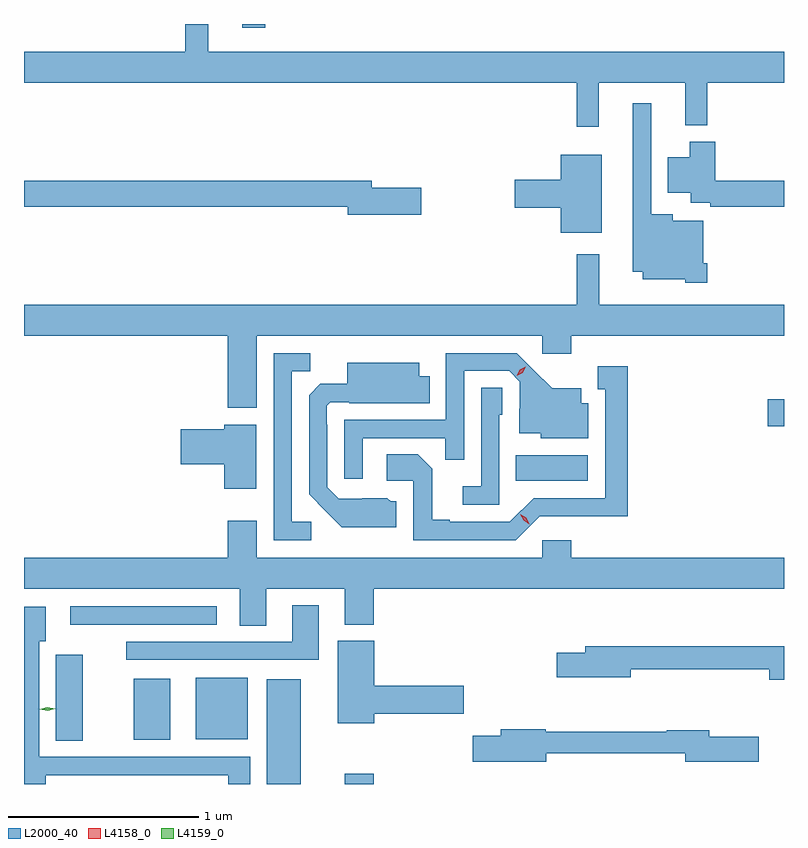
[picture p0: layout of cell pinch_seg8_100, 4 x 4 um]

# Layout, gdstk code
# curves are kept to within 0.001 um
import gdstk
lib = gdstk.Library(unit=1e-6, precision=1e-09)
def R(c, l, rs):  # rectangles x0, y0, x1, y1
    for r in rs: c.add(gdstk.rectangle(r[:2], r[2:], *l))
def P(c, l, *ps):  # polygons
    for p in ps: c.add(gdstk.Polygon(p, *l))
L2000_40 = (2000, 40)
L4158_0 = (4158, 0)
L4159_0 = (4159, 0)

pinch_seg8_100 = lib.new_cell('pinch_seg8_100')
R(pinch_seg8_100, L2000_40, [(1043.15,1100.821,1043.329,1101.373), (1043.561,1100.821,1043.714,1100.875), (1042.04,1101.049,1042.183,1101.502), (1042.451,1101.053,1042.642,1101.376), (1042.778,1101.056,1043.05,1101.379), (1042.116,1101.66,1042.888,1101.756), (1044.46,1102.418,1044.841,1102.552), (1045.788,1102.703,1045.873,1102.845), (1043.021,1104.801,1043.143,1104.821)])
P(pinch_seg8_100, L2000_40, [(1044.899,1104.512),(1045.352,1104.512),(1045.352,1104.287),(1045.469,1104.287),(1045.469,1104.512),(1045.873,1104.512),(1045.873,1104.676),(1042.843,1104.676),(1042.843,1104.821),(1042.722,1104.821),(1042.722,1104.676),(1041.873,1104.676),(1041.873,1104.512),(1044.781,1104.512),(1044.781,1104.279),(1044.899,1104.279)],
  [(1045.469,1103.563),(1045.447,1103.563),(1045.447,1103.785),(1045.288,1103.785),(1045.288,1103.821),(1045.173,1103.821),(1045.173,1104.403),(1045.076,1104.403),(1045.076,1103.516),(1045.13,1103.516),(1045.13,1103.477),(1045.353,1103.477),(1045.353,1103.459),(1045.469,1103.459)],
  [(1045.873,1103.996),(1045.511,1103.996),(1045.511,1104.202),(1045.376,1104.202),(1045.376,1104.121),(1045.262,1104.121),(1045.262,1103.933),(1045.382,1103.933),(1045.382,1103.88),(1045.486,1103.88),(1045.486,1103.86),(1045.873,1103.86)],
  [(1044.913,1104.133),(1044.698,1104.133),(1044.698,1104.002),(1044.456,1104.002),(1044.456,1103.855),(1044.698,1103.855),(1044.698,1103.723),(1044.913,1103.723)],
  [(1043.965,1103.96),(1043.704,1103.96),(1043.704,1103.996),(1041.873,1103.996),(1041.873,1103.86),(1043.576,1103.86),(1043.576,1103.818),(1043.965,1103.818)],
  [(1043.098,1103.18),(1044.6,1103.18),(1044.6,1103.085),(1044.752,1103.085),(1044.752,1103.18),(1045.873,1103.18),(1045.873,1103.344),(1044.9,1103.344),(1044.9,1103.608),(1044.781,1103.608),(1044.781,1103.344),(1041.873,1103.344),(1041.873,1103.18),(1042.946,1103.18),(1042.946,1102.8),(1043.098,1102.8)],
  [(1043.386,1102.2),(1043.283,1102.2),(1043.283,1102.993),(1043.379,1102.993),(1043.379,1103.088),(1043.187,1103.088),(1043.187,1102.104),(1043.386,1102.104)],
  [(1043.655,1102.641),(1044.091,1102.641),(1044.091,1102.528),(1044.189,1102.528),(1044.189,1102.995),(1044.426,1102.995),(1044.483,1102.938),(1044.483,1102.796),(1044.479,1102.796),(1044.479,1102.667),(1044.594,1102.667),(1044.594,1102.64),(1044.844,1102.64),(1044.844,1102.825),(1044.805,1102.825),(1044.805,1102.903),(1044.653,1102.903),(1044.466,1103.088),(1044.093,1103.088),(1044.093,1102.737),(1043.559,1102.737),(1043.559,1102.428),(1043.655,1102.428)],
  [(1043.833,1102.308),(1043.802,1102.308),(1043.786,1102.324),(1043.529,1102.323),(1043.469,1102.383),(1043.469,1102.712),(1043.466,1102.712),(1043.466,1102.812),(1043.484,1102.83),(1043.584,1102.83),(1043.584,1102.826),(1044.008,1102.826),(1044.008,1102.966),(1043.953,1102.966),(1043.953,1103.038),(1043.573,1103.038),(1043.573,1102.927),(1043.432,1102.927),(1043.373,1102.868),(1043.373,1102.346),(1043.545,1102.172),(1043.833,1102.172)],
  [(1044.588,1102.23),(1045.051,1102.229),(1045.051,1103.02),(1044.893,1103.02),(1044.893,1102.899),(1044.932,1102.899),(1044.932,1102.326),(1044.555,1102.326),(1044.429,1102.2),(1044.115,1102.2),(1044.115,1102.213),(1044.021,1102.213),(1044.021,1102.48),(1043.945,1102.556),(1043.781,1102.556),(1043.781,1102.416),(1043.922,1102.416),(1043.922,1102.104),(1044.462,1102.104)],
  [(1044.375,1102.764),(1044.39,1102.764),(1044.39,1102.907),(1044.279,1102.907),(1044.279,1102.387),(1044.183,1102.387),(1044.183,1102.29),(1044.375,1102.29)],
  [(1043.095,1102.711),(1042.928,1102.711),(1042.928,1102.688),(1042.698,1102.688),(1042.698,1102.505),(1042.928,1102.505),(1042.928,1102.374),(1043.095,1102.374)],
  [(1043.149,1101.848),(1043.561,1101.848),(1043.561,1101.659),(1043.714,1101.659),(1043.714,1101.848),(1045.873,1101.848),(1045.873,1102.012),(1044.752,1102.012),(1044.752,1102.105),(1044.6,1102.105),(1044.6,1102.012),(1043.098,1102.012),(1043.098,1102.207),(1042.946,1102.207),(1042.946,1102.012),(1041.873,1102.012),(1041.873,1101.848),(1043.009,1101.848),(1043.009,1101.655),(1043.149,1101.655)],
  [(1043.425,1101.763),(1043.285,1101.763),(1043.285,1101.57),(1042.41,1101.57),(1042.41,1101.474),(1043.425,1101.474)],
  [(1041.988,1100.868),(1042.72,1100.868),(1042.72,1100.867),(1042.948,1100.867),(1042.948,1100.821),(1043.065,1100.821),(1043.065,1100.964),(1041.952,1100.964),(1041.952,1101.572),(1041.988,1101.572),(1041.988,1101.754),(1041.873,1101.754),(1041.873,1100.821),(1041.988,1100.821)],
  [(1043.716,1101.191),(1044.187,1101.191),(1044.187,1101.338),(1043.716,1101.338),(1043.716,1101.574),(1043.525,1101.574),(1043.525,1101.14),(1043.716,1101.14)],
  [(1045.873,1101.547),(1044.827,1101.547),(1044.827,1101.513),(1044.678,1101.513),(1044.678,1101.383),(1045.066,1101.383),(1045.066,1101.426),(1045.796,1101.426),(1045.796,1101.371),(1045.873,1101.371)],
  [(1044.622,1100.982),(1045.352,1100.982),(1045.352,1100.939),(1045.741,1100.939),(1045.741,1101.069),(1045.48,1101.069),(1045.48,1101.103),(1045.256,1101.103),(1045.256,1101.095),(1044.618,1101.095),(1044.618,1101.11),(1044.383,1101.11),(1044.383,1101.074),(1044.234,1101.074),(1044.234,1100.939),(1044.622,1100.939)])
P(pinch_seg8_100, L4158_0, [(1044.533,1102.189),(1044.502,1102.209),(1044.485,1102.242),(1044.485,1102.242),(1044.485,1102.242),(1044.516,1102.223),(1044.533,1102.19),(1044.533,1102.189)],
  [(1044.466,1102.971),(1044.466,1102.971),(1044.483,1103.001),(1044.514,1103.016),(1044.514,1103.016),(1044.514,1103.016),(1044.497,1102.986),(1044.466,1102.971)])
P(pinch_seg8_100, L4159_0, [(1041.997,1101.206),(1041.955,1101.214),(1041.955,1101.215),(1041.955,1101.215),(1041.996,1101.225),(1042.038,1101.216),(1042.038,1101.216),(1042.038,1101.216)])

lib.write_gds('pinch_seg8_100.gds')
